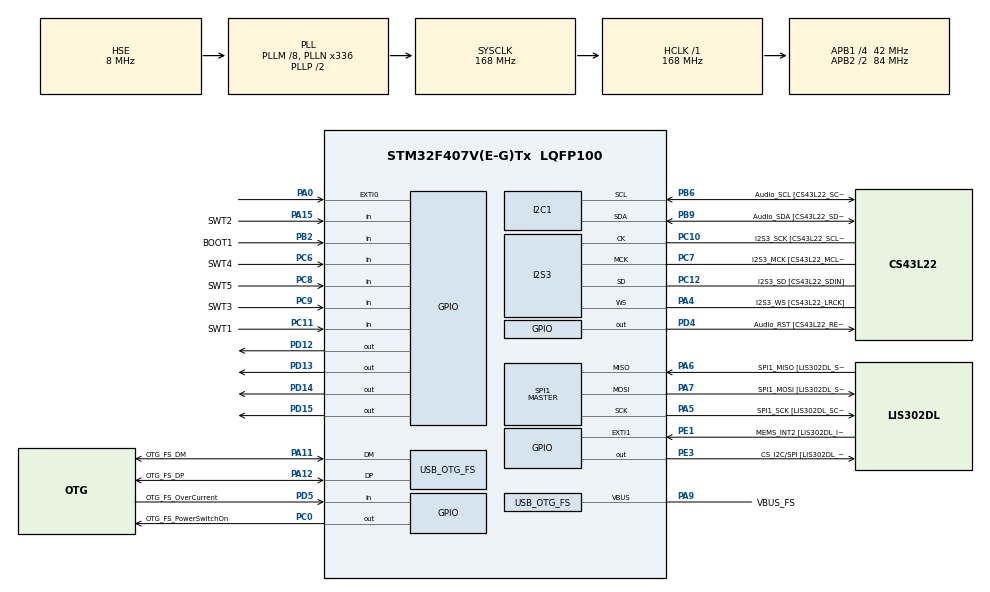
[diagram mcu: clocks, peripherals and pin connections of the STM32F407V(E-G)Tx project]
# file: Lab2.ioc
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I2S3.AudioFreq-Half_Duplex_Master=I2S_AUDIOFREQ_96K
I2S3.ErrorAudioFreq=-2.34 %
I2S3.ErrorAudioFreq-Half_Duplex_Master=0.8 %
I2S3.FullDuplexMode=I2S_FULLDUPLEXMODE_DISABLE
I2S3.Instance=SPI$Index
I2S3.RealAudioFreq=93.75 KHz
I2S3.RealAudioFreq-Half_Duplex_Master=96.774 KHz
I2S3.VirtualMode=I2S_MODE_MASTER
Mcu.Family=STM32F4
Mcu.Name=STM32F407V(E-G)Tx
Mcu.Package=LQFP100
NVIC.EXTI0_IRQn=true\:0\:0\:false\:false\:true\:true\:true\:true
NVIC.OTG_FS_IRQn=true\:0\:0\:false\:false\:true\:true\:true\:true
NVIC.PriorityGroup=NVIC_PRIORITYGROUP_0
PA0-WKUP.Signal=GPXTI0
PA10.GPIO_Label=OTG_FS_ID
PA10.GPIO_Mode=GPIO_MODE_AF_PP
PA10.GPIO_PuPd=GPIO_NOPULL
PA10.GPIO_Speed=GPIO_SPEED_FREQ_LOW
PA10.Signal=USB_OTG_FS_ID
PA11.GPIO_Label=OTG_FS_DM
PA11.GPIO_Mode=GPIO_MODE_AF_PP
PA11.GPIO_PuPd=GPIO_NOPULL
PA11.GPIO_Speed=GPIO_SPEED_FREQ_LOW
PA11.Mode=Host_Only
PA11.Signal=USB_OTG_FS_DM
PA12.GPIO_Label=OTG_FS_DP
PA12.GPIO_Mode=GPIO_MODE_AF_PP
PA12.GPIO_PuPd=GPIO_NOPULL
PA12.GPIO_Speed=GPIO_SPEED_FREQ_LOW
PA12.Mode=Host_Only
PA12.Signal=USB_OTG_FS_DP
PA13.GPIO_Label=SWDIO
PA13.Mode=Serial_Wire
PA13.Signal=SYS_JTMS-SWDIO
PA14.GPIO_Label=SWCLK
PA14.Mode=Serial_Wire
PA14.Signal=SYS_JTCK-SWCLK
PA15.GPIO_Label=SWT2
PA15.Signal=GPIO_Input
PA4.GPIO_Label=I2S3_WS [CS43L22_LRCK]
PA4.GPIO_Mode=GPIO_MODE_AF_PP
PA4.GPIO_PuPd=GPIO_NOPULL
PA4.GPIO_Speed=GPIO_SPEED_FREQ_LOW
PA4.Mode=Half_Duplex_Master
PA4.Signal=I2S3_WS
PA5.GPIO_Label=SPI1_SCK [LIS302DL_SCL/SPC]
PA5.GPIO_Mode=GPIO_MODE_AF_PP
PA5.GPIO_PuPd=GPIO_NOPULL
PA5.GPIO_Speed=GPIO_SPEED_FREQ_LOW
PA5.Mode=Full_Duplex_Master
PA5.Signal=SPI1_SCK
PA6.GPIO_Label=SPI1_MISO [LIS302DL_SDO]
PA6.GPIO_Mode=GPIO_MODE_AF_PP
PA6.GPIO_PuPd=GPIO_NOPULL
PA6.GPIO_Speed=GPIO_SPEED_FREQ_LOW
PA6.Mode=Full_Duplex_Master
PA6.Signal=SPI1_MISO
PA7.GPIO_Label=SPI1_MOSI [LIS302DL_SDA/SDI/SDO]
PA7.GPIO_Mode=GPIO_MODE_AF_PP
PA7.GPIO_PuPd=GPIO_NOPULL
PA7.GPIO_Speed=GPIO_SPEED_FREQ_LOW
PA7.Mode=Full_Duplex_Master
PA7.Signal=SPI1_MOSI
PA9.GPIO_Label=VBUS_FS
PA9.GPIO_Mode=GPIO_MODE_INPUT
PA9.GPIO_PuPd=GPIO_NOPULL
PA9.Mode=Activate_VBUS
PA9.Signal=USB_OTG_FS_VBUS
PB10.GPIO_Label=CLK_IN [MP45DT02_CLK]
PB10.GPIO_Mode=GPIO_MODE_AF_PP
PB10.GPIO_PuPd=GPIO_NOPULL
PB10.GPIO_Speed=GPIO_SPEED_FREQ_LOW
PB10.Signal=I2S2_CK
PB2.GPIO_Label=BOOT1
PB2.GPIO_Mode=GPIO_MODE_INPUT
PB2.GPIO_PuPd=GPIO_NOPULL
PB2.Signal=GPIO_Input
PB3.GPIO_Label=SWO
PB3.Signal=SYS_JTDO-SWO
PB6.GPIO_Label=Audio_SCL [CS43L22_SCL]
PB6.GPIO_Mode=GPIO_MODE_AF_OD
PB6.GPIO_Pu=GPIO_PULLUP
PB6.GPIO_PuPd=GPIO_NOPULL
PB6.GPIO_Speed=GPIO_SPEED_FREQ_LOW
PB6.Mode=I2C
PB6.Signal=I2C1_SCL
PB9.GPIO_Label=Audio_SDA [CS43L22_SDA]
PB9.GPIO_Mode=GPIO_MODE_AF_OD
PB9.GPIO_Pu=GPIO_PULLUP
PB9.GPIO_PuPd=GPIO_NOPULL
PB9.GPIO_Speed=GPIO_SPEED_FREQ_LOW
PB9.Mode=I2C
PB9.Signal=I2C1_SDA
PC0.GPIO_Label=OTG_FS_PowerSwitchOn
PC0.GPIO_PuPd=GPIO_NOPULL
PC0.GPIO_Speed=GPIO_SPEED_FREQ_LOW
PC0.PinState=GPIO_PIN_SET
PC0.Signal=GPIO_Output
PC10.GPIO_Label=I2S3_SCK [CS43L22_SCLK]
PC10.GPIO_Mode=GPIO_MODE_AF_PP
PC10.GPIO_PuPd=GPIO_NOPULL
PC10.GPIO_Speed=GPIO_SPEED_FREQ_LOW
PC10.Mode=Half_Duplex_Master
PC10.Signal=I2S3_CK
PC11.GPIO_Label=SWT1
PC11.Signal=GPIO_Input
PC12.GPIO_Label=I2S3_SD [CS43L22_SDIN]
PC12.GPIO_Mode=GPIO_MODE_AF_PP
PC12.GPIO_PuPd=GPIO_NOPULL
PC12.GPIO_Speed=GPIO_SPEED_FREQ_LOW
PC12.Mode=Half_Duplex_Master
PC12.Signal=I2S3_SD
PC14-OSC32_IN.GPIO_Label=PC14-OSC32_IN
PC14-OSC32_IN.Mode=LSE-External-Oscillator
PC14-OSC32_IN.Signal=RCC_OSC32_IN
PC15-OSC32_OUT.GPIO_Label=PC15-OSC32_OUT
PC15-OSC32_OUT.Mode=LSE-External-Oscillator
PC15-OSC32_OUT.Signal=RCC_OSC32_OUT
PC3.GPIO_Label=PDM_OUT [MP45DT02_DOUT]
PC3.GPIO_Mode=GPIO_MODE_AF_PP
PC3.GPIO_PuPd=GPIO_NOPULL
PC3.GPIO_Speed=GPIO_SPEED_FREQ_LOW
PC3.Signal=I2S2_SD
PC6.GPIO_Label=SWT4
PC6.Signal=GPIO_Input
PC7.GPIO_Label=I2S3_MCK [CS43L22_MCLK]
PC7.GPIO_Mode=GPIO_MODE_AF_PP
PC7.GPIO_PuPd=GPIO_NOPULL
PC7.GPIO_Speed=GPIO_SPEED_FREQ_LOW
PC7.Mode=Master_Clock_Activated
PC7.Signal=I2S3_MCK
PC8.GPIO_Label=SWT5
PC8.Signal=GPIO_Input
PC9.GPIO_Label=SWT3
PC9.Signal=GPIO_Input
PD12.Signal=GPIO_Output
PD13.Signal=GPIO_Output
PD14.Signal=GPIO_Output
PD15.Signal=GPIO_Output
PD4.GPIO_Label=Audio_RST [CS43L22_RESET]
PD4.GPIO_PuPd=GPIO_NOPULL
PD4.GPIO_Speed=GPIO_SPEED_FREQ_LOW
PD4.Signal=GPIO_Output
PD5.GPIO_Label=OTG_FS_OverCurrent
PD5.GPIO_Mode=GPIO_MODE_INPUT
PD5.GPIO_PuPd=GPIO_NOPULL
PD5.Signal=GPIO_Input
PE1.GPIO_Label=MEMS_INT2 [LIS302DL_INT2]
PE1.GPIO_ModeDefaultEXTI=GPIO_MODE_EVT_RISING
PE1.GPIO_PuPd=GPIO_NOPULL
PE1.Signal=GPXTI1
PE3.GPIO_Label=CS_I2C/SPI [LIS302DL_CS_I2C/SPI]
PE3.GPIO_PuPd=GPIO_NOPULL
PE3.GPIO_Speed=GPIO_SPEED_FREQ_LOW
PE3.Signal=GPIO_Output
PH0-OSC_IN.GPIO_Label=PH0-OSC_IN
PH0-OSC_IN.Mode=HSE-External-Oscillator
PH0-OSC_IN.Signal=RCC_OSC_IN
PH1-OSC_OUT.GPIO_Label=PH1-OSC_OUT
PH1-OSC_OUT.Mode=HSE-External-Oscillator
PH1-OSC_OUT.Signal=RCC_OSC_OUT
ProjectManager.HeapSize=0x200
ProjectManager.StackSize=0x400
ProjectManager.TargetToolchain=STM32CubeIDE
RCC.48MHZClocksFreq_Value=48000000
RCC.AHBFreq_Value=168000000
RCC.APB1CLKDivider=RCC_HCLK_DIV4
RCC.APB1Freq_Value=42000000
RCC.APB1TimFreq_Value=84000000
RCC.APB2CLKDivider=RCC_HCLK_DIV2
RCC.APB2Freq_Value=84000000
RCC.APB2TimFreq_Value=168000000
RCC.CortexFreq_Value=168000000
RCC.HCLKFreq_Value=168000000
RCC.HSE_VALUE=8000000
RCC.HSI_VALUE=16000000
RCC.PLLM=8
RCC.PLLN=336
RCC.PLLQ=7
RCC.SYSCLKFreq_VALUE=168000000
RCC.SYSCLKSource=RCC_SYSCLKSOURCE_PLLCLK
RCC.VCOOutputFreq_Value=336000000
SPI1.BaudRatePrescaler-Full_Duplex_Master=SPI_BAUDRATEPRESCALER_2
SPI1.CalculateBaudRate-Full_Duplex_Master=42.0 MBits/s
SPI1.Direction=SPI_DIRECTION_2LINES
SPI1.Mode=SPI_MODE_MASTER
SPI1.Mode-Full_Duplex_Master=SPI_MODE_MASTER
SPI1.VirtualType=VM_MASTER
USB_HOST.BSP.number=1
USB_HOST.USBH_HandleTypeDef-CDC_FS=hUsbHostFS
USB_HOST.VirtualModeFS=Cdc
USB_HOST0.BSP.STBoard=false
USB_HOST0.BSP.api=Unknown
USB_HOST0.BSP.instance=PC0
USB_HOST0.BSP.ip=GPIO
USB_HOST0.BSP.mode=Output
USB_HOST0.BSP.name=Drive_VBUS_FS
USB_HOST0.BSP.solution=PC0
USB_OTG_FS.VirtualMode=Host_Only
USB_OTG_FS.phy_itface=HCD_PHY_EMBEDDED
VP_USB_HOST_VS_USB_HOST_CDC_FS.Mode=CDC_FS
board=STM32F407G-DISC1

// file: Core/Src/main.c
/* USER CODE BEGIN Header */
/**
  ******************************************************************************
  * @file           : main.c
  * @brief          : Main program body (Variant 4)
  ******************************************************************************
  */
/* USER CODE END Header */
#include "main.h"
#include "usb_host.h"

I2C_HandleTypeDef hi2c1;

I2S_HandleTypeDef hi2s3;

SPI_HandleTypeDef hspi1;

/* USER CODE BEGIN PV */
// Поточний стан 4 світлодіодів (0 - вимкнено, 1 - увімкнено)
// Масив відповідає виходам: [0]->PD12, [1]->PD13, [2]->PD14, [3]->PD15
uint8_t led_states[4] = {0, 0, 0, 0};

// Буфер для збереження станів світлодіодів при натисканні центральної кнопки
uint8_t saved_states[4] = {0, 0, 0, 0};

// Прапорець стану: 1 - світлодіоди вимкнено середньою кнопкою
uint8_t is_paused = 0;
/* USER CODE END PV */

void SystemClock_Config(void);
static void MX_GPIO_Init(void);
static void MX_I2C1_Init(void);
static void MX_I2S3_Init(void);
static void MX_SPI1_Init(void);
void MX_USB_HOST_Process(void);

int main(void)
{

  /* MCU Configuration--------------------------------------------------------*/

  /* Reset of all peripherals, Initializes the Flash interface and the Systick. */
  HAL_Init();

  /* Configure the system clock */
  SystemClock_Config();

  /* Initialize all configured peripherals */
  MX_GPIO_Init();
  MX_I2C1_Init();
  MX_I2S3_Init();
  MX_SPI1_Init();
  MX_USB_HOST_Init();
  /* USER CODE BEGIN 2 */
  // Переконуємося, що на початку всі світлодіоди вимкнені
  HAL_GPIO_WritePin(GPIOD,GPIO_PIN_12 | GPIO_PIN_13 | GPIO_PIN_14 | GPIO_PIN_15, GPIO_PIN_RESET);
  /* USER CODE END 2 */

  /* Infinite loop */
  while (1)
  {
    MX_USB_HOST_Process();

    /* USER CODE BEGIN 3 */

    // =========================================================================
    // 1. ПРАВА КНОПКА (SWT1 -> PC11) -> Правий світлодіод (PD12)
    // =========================================================================
    if (HAL_GPIO_ReadPin(GPIOC, GPIO_PIN_11) == GPIO_PIN_RESET)
    {
        HAL_Delay(150); // Захист від брязкоту контактів
        if (HAL_GPIO_ReadPin(GPIOC, GPIO_PIN_11) == GPIO_PIN_RESET)
        {
            led_states[0] = !led_states[0];
            is_paused = 0;

            HAL_GPIO_WritePin(GPIOD, GPIO_PIN_12, led_states[0] ? GPIO_PIN_SET : GPIO_PIN_RESET);

            while (HAL_GPIO_ReadPin(GPIOC, GPIO_PIN_11) == GPIO_PIN_RESET); // Очікування відпускання
        }
    }

    // =========================================================================
    // 2. ВЕРХНЯ КНОПКА (SWT2 -> PA15) -> Верхній світлодіод (PD13)
    // =========================================================================
    if (HAL_GPIO_ReadPin(GPIOA, GPIO_PIN_15) == GPIO_PIN_RESET)
    {
        HAL_Delay(150);
        if (HAL_GPIO_ReadPin(GPIOA, GPIO_PIN_15) == GPIO_PIN_RESET)
        {
            led_states[1] = !led_states[1];
            is_paused = 0;

            HAL_GPIO_WritePin(GPIOD, GPIO_PIN_13, led_states[1] ? GPIO_PIN_SET : GPIO_PIN_RESET);

            while (HAL_GPIO_ReadPin(GPIOA, GPIO_PIN_15) == GPIO_PIN_RESET);
        }
    }

    // =========================================================================
    // 3. ЛІВА КНОПКА (SWT3 -> PC9) -> Лівий світлодіод (PD14)
    // =========================================================================
    if (HAL_GPIO_ReadPin(GPIOC, GPIO_PIN_9) == GPIO_PIN_RESET)
    {
        HAL_Delay(150);
        if (HAL_GPIO_ReadPin(GPIOC, GPIO_PIN_9) == GPIO_PIN_RESET)
        {
            led_states[2] = !led_states[2];
            is_paused = 0;

            HAL_GPIO_WritePin(GPIOD, GPIO_PIN_14, led_states[2] ? GPIO_PIN_SET : GPIO_PIN_RESET);

            while (HAL_GPIO_ReadPin(GPIOC, GPIO_PIN_9) == GPIO_PIN_RESET);
        }
    }

    // =========================================================================
    // 4. НИЖНЯ КНОПКА (SWT4 -> PC6) -> Нижній світлодіод (PD15)
    // =========================================================================
    if (HAL_GPIO_ReadPin(GPIOC, GPIO_PIN_6) == GPIO_PIN_RESET)
    {
        HAL_Delay(150);
        if (HAL_GPIO_ReadPin(GPIOC, GPIO_PIN_6) == GPIO_PIN_RESET)
        {
            led_states[3] = !led_states[3];
            is_paused = 0;

            HAL_GPIO_WritePin(GPIOD, GPIO_PIN_15, led_states[3] ? GPIO_PIN_SET : GPIO_PIN_RESET);

            while (HAL_GPIO_ReadPin(GPIOC, GPIO_PIN_6) == GPIO_PIN_RESET);
        }
    }

    // =========================================================================
    // 5. СЕРЕДНЯ КНОПКА (SWT5 -> PC8) -> Вимикає або відновлює всі
    // =========================================================================
    if (HAL_GPIO_ReadPin(GPIOC, GPIO_PIN_8) == GPIO_PIN_RESET)
    {
        HAL_Delay(150);
        if (HAL_GPIO_ReadPin(GPIOC, GPIO_PIN_8) == GPIO_PIN_RESET)
        {
            uint8_t any_on = led_states[0] || led_states[1] || led_states[2] || led_states[3];

            if (any_on && !is_paused)
            {
                // Вимикаємо всі діоди та зберігаємо їхні стани
                for (int i = 0; i < 4; i++) {
                    saved_states[i] = led_states[i];
                    led_states[i] = 0;
                }
                is_paused = 1;
            }
            else if (is_paused)
            {
                // Повторне натискання — відновлюємо збережені стани
                for (int i = 0; i < 4; i++) {
                    led_states[i] = saved_states[i];
                }
                is_paused = 0;
            }

            // Оновлюємо стан усіх 4 світлодіодів
            HAL_GPIO_WritePin(GPIOD, GPIO_PIN_12, led_states[0] ? GPIO_PIN_SET : GPIO_PIN_RESET);
            HAL_GPIO_WritePin(GPIOD, GPIO_PIN_13, led_states[1] ? GPIO_PIN_SET : GPIO_PIN_RESET);
            HAL_GPIO_WritePin(GPIOD, GPIO_PIN_14, led_states[2] ? GPIO_PIN_SET : GPIO_PIN_RESET);
            HAL_GPIO_WritePin(GPIOD, GPIO_PIN_15, led_states[3] ? GPIO_PIN_SET : GPIO_PIN_RESET);

            while (HAL_GPIO_ReadPin(GPIOC, GPIO_PIN_8) == GPIO_PIN_RESET);
        }
    }

    HAL_Delay(10); // Невелика затримка для зменшення навантаження на процесор
  }
  /* USER CODE END 3 */
}

void SystemClock_Config(void)
{
  RCC_OscInitTypeDef RCC_OscInitStruct = {0};
  RCC_ClkInitTypeDef RCC_ClkInitStruct = {0};

  /** Configure the main internal regulator output voltage
  */
  __HAL_RCC_PWR_CLK_ENABLE();
  __HAL_PWR_VOLTAGESCALING_CONFIG(PWR_REGULATOR_VOLTAGE_SCALE1);

  /** Initializes the RCC Oscillators according to the specified parameters
  * in the RCC_OscInitTypeDef structure.
  */
  RCC_OscInitStruct.OscillatorType = RCC_OSCILLATORTYPE_HSE;
  RCC_OscInitStruct.HSEState = RCC_HSE_ON;
  RCC_OscInitStruct.PLL.PLLState = RCC_PLL_ON;
  RCC_OscInitStruct.PLL.PLLSource = RCC_PLLSOURCE_HSE;
  RCC_OscInitStruct.PLL.PLLM = 8;
  RCC_OscInitStruct.PLL.PLLN = 336;
  RCC_OscInitStruct.PLL.PLLP = RCC_PLLP_DIV2;
  RCC_OscInitStruct.PLL.PLLQ = 7;
  if (HAL_RCC_OscConfig(&RCC_OscInitStruct) != HAL_OK)
  {
    Error_Handler();
  }

  /** Initializes the CPU, AHB and APB buses clocks
  */
  RCC_ClkInitStruct.ClockType = RCC_CLOCKTYPE_HCLK|RCC_CLOCKTYPE_SYSCLK
                              |RCC_CLOCKTYPE_PCLK1|RCC_CLOCKTYPE_PCLK2;
  RCC_ClkInitStruct.SYSCLKSource = RCC_SYSCLKSOURCE_PLLCLK;
  RCC_ClkInitStruct.AHBCLKDivider = RCC_SYSCLK_DIV1;
  RCC_ClkInitStruct.APB1CLKDivider = RCC_HCLK_DIV4;
  RCC_ClkInitStruct.APB2CLKDivider = RCC_HCLK_DIV2;

  if (HAL_RCC_ClockConfig(&RCC_ClkInitStruct, FLASH_LATENCY_5) != HAL_OK)
  {
    Error_Handler();
  }
}

static void MX_I2C1_Init(void)
{

  hi2c1.Instance = I2C1;
  hi2c1.Init.ClockSpeed = 100000;
  hi2c1.Init.DutyCycle = I2C_DUTYCYCLE_2;
  hi2c1.Init.OwnAddress1 = 0;
  hi2c1.Init.AddressingMode = I2C_ADDRESSINGMODE_7BIT;
  hi2c1.Init.DualAddressMode = I2C_DUALADDRESS_DISABLE;
  hi2c1.Init.OwnAddress2 = 0;
  hi2c1.Init.GeneralCallMode = I2C_GENERALCALL_DISABLE;
  hi2c1.Init.NoStretchMode = I2C_NOSTRETCH_DISABLE;
  if (HAL_I2C_Init(&hi2c1) != HAL_OK)
  {
    Error_Handler();
  }

}

static void MX_I2S3_Init(void)
{

  hi2s3.Instance = SPI3;
  hi2s3.Init.Mode = I2S_MODE_MASTER_TX;
  hi2s3.Init.Standard = I2S_STANDARD_PHILIPS;
  hi2s3.Init.DataFormat = I2S_DATAFORMAT_16B;
  hi2s3.Init.MCLKOutput = I2S_MCLKOUTPUT_ENABLE;
  hi2s3.Init.AudioFreq = I2S_AUDIOFREQ_96K;
  hi2s3.Init.CPOL = I2S_CPOL_LOW;
  hi2s3.Init.ClockSource = I2S_CLOCK_PLL;
  hi2s3.Init.FullDuplexMode = I2S_FULLDUPLEXMODE_DISABLE;
  if (HAL_I2S_Init(&hi2s3) != HAL_OK)
  {
    Error_Handler();
  }

}

static void MX_SPI1_Init(void)
{

  /* SPI1 parameter configuration*/
  hspi1.Instance = SPI1;
  hspi1.Init.Mode = SPI_MODE_MASTER;
  hspi1.Init.Direction = SPI_DIRECTION_2LINES;
  hspi1.Init.DataSize = SPI_DATASIZE_8BIT;
  hspi1.Init.CLKPolarity = SPI_POLARITY_LOW;
  hspi1.Init.CLKPhase = SPI_PHASE_1EDGE;
  hspi1.Init.NSS = SPI_NSS_SOFT;
  hspi1.Init.BaudRatePrescaler = SPI_BAUDRATEPRESCALER_2;
  hspi1.Init.FirstBit = SPI_FIRSTBIT_MSB;
  hspi1.Init.TIMode = SPI_TIMODE_DISABLE;
  hspi1.Init.CRCCalculation = SPI_CRCCALCULATION_DISABLE;
  hspi1.Init.CRCPolynomial = 10;
  if (HAL_SPI_Init(&hspi1) != HAL_OK)
  {
    Error_Handler();
  }

}

static void MX_GPIO_Init(void)
{
  GPIO_InitTypeDef GPIO_InitStruct = {0};

  /* GPIO Ports Clock Enable */
  __HAL_RCC_GPIOE_CLK_ENABLE();
  __HAL_RCC_GPIOC_CLK_ENABLE();
  __HAL_RCC_GPIOH_CLK_ENABLE();
  __HAL_RCC_GPIOA_CLK_ENABLE();
  __HAL_RCC_GPIOB_CLK_ENABLE();
  __HAL_RCC_GPIOD_CLK_ENABLE();

  /*Configure GPIO pin Output Level */
  HAL_GPIO_WritePin(CS_I2C_SPI_GPIO_Port, CS_I2C_SPI_Pin, GPIO_PIN_RESET);

  /*Configure GPIO pin Output Level */
  HAL_GPIO_WritePin(OTG_FS_PowerSwitchOn_GPIO_Port, OTG_FS_PowerSwitchOn_Pin, GPIO_PIN_SET);

  /*Configure GPIO pin Output Level */
  HAL_GPIO_WritePin(GPIOD, GPIO_PIN_12|GPIO_PIN_13|GPIO_PIN_14|GPIO_PIN_15
                          |Audio_RST_Pin, GPIO_PIN_RESET);

  /*Configure GPIO pin : CS_I2C_SPI_Pin */
  GPIO_InitStruct.Pin = CS_I2C_SPI_Pin;
  GPIO_InitStruct.Mode = GPIO_MODE_OUTPUT_PP;
  GPIO_InitStruct.Pull = GPIO_NOPULL;
  GPIO_InitStruct.Speed = GPIO_SPEED_FREQ_LOW;
  HAL_GPIO_Init(CS_I2C_SPI_GPIO_Port, &GPIO_InitStruct);

  /*Configure GPIO pin : OTG_FS_PowerSwitchOn_Pin */
  GPIO_InitStruct.Pin = OTG_FS_PowerSwitchOn_Pin;
  GPIO_InitStruct.Mode = GPIO_MODE_OUTPUT_PP;
  GPIO_InitStruct.Pull = GPIO_NOPULL;
  GPIO_InitStruct.Speed = GPIO_SPEED_FREQ_LOW;
  HAL_GPIO_Init(OTG_FS_PowerSwitchOn_GPIO_Port, &GPIO_InitStruct);

  /*Configure GPIO pin : PDM_OUT_Pin */
  GPIO_InitStruct.Pin = PDM_OUT_Pin;
  GPIO_InitStruct.Mode = GPIO_MODE_AF_PP;
  GPIO_InitStruct.Pull = GPIO_NOPULL;
  GPIO_InitStruct.Speed = GPIO_SPEED_FREQ_LOW;
  GPIO_InitStruct.Alternate = GPIO_AF5_SPI2;
  HAL_GPIO_Init(PDM_OUT_GPIO_Port, &GPIO_InitStruct);

  /*Configure GPIO pin : PA0 */
  GPIO_InitStruct.Pin = GPIO_PIN_0;
  GPIO_InitStruct.Mode = GPIO_MODE_IT_RISING;
  GPIO_InitStruct.Pull = GPIO_NOPULL;
  HAL_GPIO_Init(GPIOA, &GPIO_InitStruct);

  /*Configure GPIO pin : BOOT1_Pin */
  GPIO_InitStruct.Pin = BOOT1_Pin;
  GPIO_InitStruct.Mode = GPIO_MODE_INPUT;
  GPIO_InitStruct.Pull = GPIO_NOPULL;
  HAL_GPIO_Init(BOOT1_GPIO_Port, &GPIO_InitStruct);

  /*Configure GPIO pin : CLK_IN_Pin */
  GPIO_InitStruct.Pin = CLK_IN_Pin;
  GPIO_InitStruct.Mode = GPIO_MODE_AF_PP;
  GPIO_InitStruct.Pull = GPIO_NOPULL;
  GPIO_InitStruct.Speed = GPIO_SPEED_FREQ_LOW;
  GPIO_InitStruct.Alternate = GPIO_AF5_SPI2;
  HAL_GPIO_Init(CLK_IN_GPIO_Port, &GPIO_InitStruct);

  /*Configure GPIO pins : PD12 PD13 PD14 PD15
                           Audio_RST_Pin */
  GPIO_InitStruct.Pin = GPIO_PIN_12|GPIO_PIN_13|GPIO_PIN_14|GPIO_PIN_15
                          |Audio_RST_Pin;
  GPIO_InitStruct.Mode = GPIO_MODE_OUTPUT_PP;
  GPIO_InitStruct.Pull = GPIO_NOPULL;
  GPIO_InitStruct.Speed = GPIO_SPEED_FREQ_LOW;
  HAL_GPIO_Init(GPIOD, &GPIO_InitStruct);

  /*Configure GPIO pins : SWT4_Pin SWT5_Pin SWT3_Pin SWT1_Pin */
  GPIO_InitStruct.Pin = SWT4_Pin|SWT5_Pin|SWT3_Pin|SWT1_Pin;
  GPIO_InitStruct.Mode = GPIO_MODE_INPUT;
  GPIO_InitStruct.Pull = GPIO_NOPULL;
  HAL_GPIO_Init(GPIOC, &GPIO_InitStruct);

  /*Configure GPIO pin : SWT2_Pin */
  GPIO_InitStruct.Pin = SWT2_Pin;
  GPIO_InitStruct.Mode = GPIO_MODE_INPUT;
  GPIO_InitStruct.Pull = GPIO_NOPULL;
  HAL_GPIO_Init(SWT2_GPIO_Port, &GPIO_InitStruct);

  /*Configure GPIO pin : OTG_FS_OverCurrent_Pin */
  GPIO_InitStruct.Pin = OTG_FS_OverCurrent_Pin;
  GPIO_InitStruct.Mode = GPIO_MODE_INPUT;
  GPIO_InitStruct.Pull = GPIO_NOPULL;
  HAL_GPIO_Init(OTG_FS_OverCurrent_GPIO_Port, &GPIO_InitStruct);

  /*Configure GPIO pin : MEMS_INT2_Pin */
  GPIO_InitStruct.Pin = MEMS_INT2_Pin;
  GPIO_InitStruct.Mode = GPIO_MODE_EVT_RISING;
  GPIO_InitStruct.Pull = GPIO_NOPULL;
  HAL_GPIO_Init(MEMS_INT2_GPIO_Port, &GPIO_InitStruct);

  /* EXTI interrupt init*/
  HAL_NVIC_SetPriority(EXTI0_IRQn, 0, 0);
  HAL_NVIC_EnableIRQ(EXTI0_IRQn);

}

void Error_Handler(void)
{
  __disable_irq();
  while (1)
  {
  }
}
